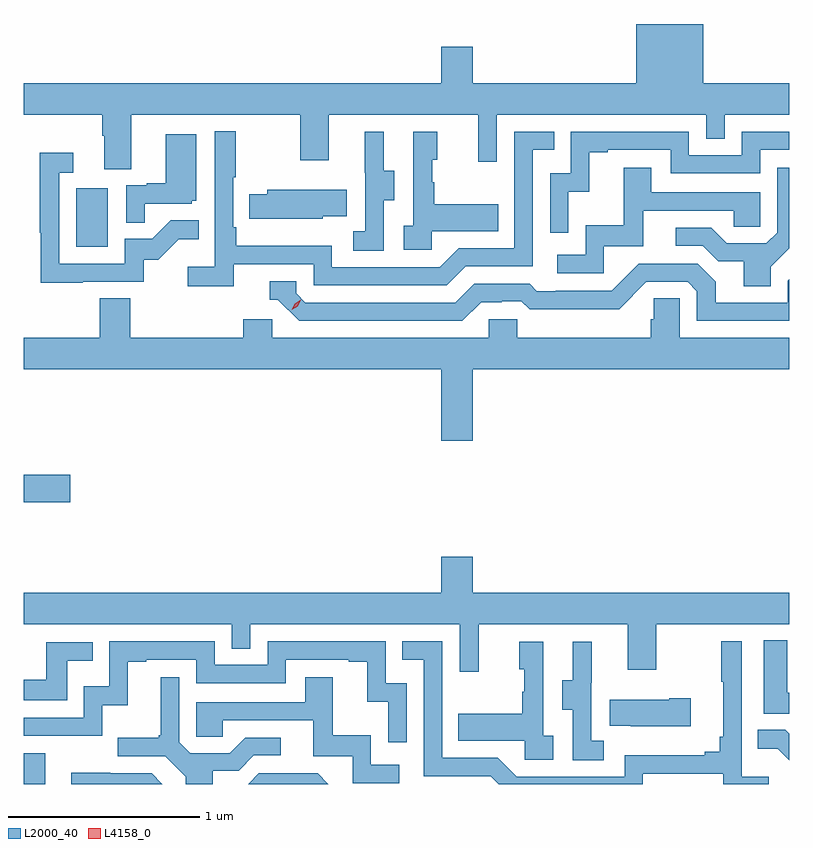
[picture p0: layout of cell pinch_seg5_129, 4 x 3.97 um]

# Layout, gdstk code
import gdstk
lib = gdstk.Library(unit=1e-6, precision=1e-09)
def R(c, l, rs):  # rectangles x0, y0, x1, y1
    for r in rs: c.add(gdstk.rectangle(r[:2], r[2:], *l))
def P(c, l, *ps):  # polygons
    for p in ps: c.add(gdstk.Polygon(p, *l))
L2000_40 = (2000, 40)
L4158_0 = (4158, 0)

pinch_seg5_129 = lib.new_cell('pinch_seg5_129')
R(pinch_seg5_129, L2000_40, [(1061.926,879.901,1062.037,880.062), (1061.926,881.374,1062.169,881.516), (1062.2,882.708,1062.364,883.015)])
P(pinch_seg5_129, L2000_40, [(1062.487,883.4),(1063.372,883.4),(1063.372,883.161),(1063.519,883.161),(1063.519,883.4),(1064.3,883.4),(1064.3,883.152),(1064.397,883.152),(1064.397,883.4),(1065.492,883.4),(1065.492,883.273),(1065.588,883.273),(1065.588,883.4),(1065.926,883.4),(1065.926,883.564),(1065.478,883.564),(1065.478,883.873),(1065.128,883.873),(1065.128,883.564),(1064.272,883.564),(1064.272,883.753),(1064.108,883.753),(1064.108,883.564),(1061.926,883.564),(1061.926,883.4),(1062.335,883.4),(1062.335,883.288),(1062.347,883.288),(1062.347,883.114),(1062.487,883.114)],
  [(1063.022,882.618),(1063.44,882.618),(1063.44,882.507),(1064.137,882.507),(1064.236,882.606),(1064.586,882.606),(1064.586,883.215),(1064.699,883.215),(1064.699,883.311),(1064.49,883.311),(1064.49,882.702),(1064.199,882.702),(1064.1,882.603),(1063.536,882.603),(1063.536,882.715),(1063.037,882.715),(1063.037,882.811),(1063.02,882.811),(1063.02,883.072),(1063.033,883.072),(1063.033,883.312),(1062.924,883.312),(1062.924,882.604),(1062.783,882.604),(1062.783,882.502),(1063.022,882.502)],
  [(1064.772,882.995),(1064.882,882.995),(1064.882,883.203),(1064.977,883.203),(1064.977,883.215),(1065.306,883.215),(1065.306,883.092),(1065.774,883.092),(1065.774,883.215),(1065.926,883.215),(1065.926,883.311),(1065.678,883.311),(1065.678,883.188),(1065.402,883.188),(1065.402,883.311),(1064.784,883.311),(1064.784,883.092),(1064.676,883.092),(1064.676,882.783),(1064.772,882.783)],
  [(1064.058,882.791),(1064.405,882.791),(1064.405,882.931),(1064.071,882.931),(1064.071,883.046),(1064.061,883.046),(1064.061,883.164),(1064.086,883.164),(1064.086,883.309),(1063.962,883.309),(1063.962,882.818),(1063.911,882.818),(1063.911,882.693),(1064.058,882.693)],
  [(1063.806,882.952),(1063.861,882.952),(1063.861,883.107),(1063.807,883.107),(1063.807,883.309),(1063.709,883.309),(1063.709,883.095),(1063.71,883.095),(1063.71,882.791),(1063.647,882.791),(1063.647,882.688),(1063.806,882.688)],
  [(1062.557,882.933),(1062.804,882.933),(1062.804,882.948),(1062.826,882.948),(1062.826,883.297),(1062.668,883.297),(1062.668,883.042),(1062.569,883.042),(1062.569,883.029),(1062.462,883.029),(1062.462,882.835),(1062.557,882.835)],
  [(1062.233,882.525),(1062.552,882.525),(1062.552,882.642),(1062.628,882.642),(1062.735,882.749),(1062.839,882.749),(1062.839,882.848),(1062.695,882.848),(1062.597,882.75),(1062.453,882.75),(1062.453,882.621),(1062.111,882.621),(1062.111,883.095),(1062.184,883.095),(1062.184,883.201),(1062.01,883.201),(1062.01,882.781),(1062.015,882.781),(1062.015,882.52),(1062.233,882.52)],
  [(1064.958,882.711),(1065.163,882.711),(1065.163,882.897),(1065.637,882.897),(1065.637,882.813),(1065.774,882.813),(1065.774,882.993),(1065.205,882.993),(1065.205,883.123),(1065.061,883.123),(1065.061,882.82),(1064.862,882.82),(1064.862,882.666),(1064.715,882.666),(1064.715,882.57),(1064.958,882.57)],
  [(1065.829,882.604),(1065.926,882.701),(1065.926,883.123),(1065.864,883.123),(1065.864,882.783),(1065.807,882.726),(1065.601,882.726),(1065.52,882.807),(1065.333,882.807),(1065.333,882.714),(1065.474,882.714),(1065.554,882.634),(1065.689,882.634),(1065.689,882.502),(1065.829,882.502)],
  [(1063.488,882.869),(1063.613,882.869),(1063.613,883.006),(1063.199,883.006),(1063.199,882.984),(1063.105,882.984),(1063.105,882.855),(1063.216,882.855),(1063.216,882.854),(1063.488,882.854)],
  [(1064.317,882.42),(1064.424,882.42),(1064.424,882.423),(1064.527,882.423),(1064.569,882.381),(1064.802,882.381),(1064.802,882.383),(1065.038,882.383),(1065.18,882.525),(1065.396,882.525),(1065.444,882.477),(1065.444,882.321),(1065.926,882.321),(1065.926,882.539),(1065.918,882.531),(1065.918,882.417),(1065.541,882.417),(1065.541,882.527),(1065.447,882.621),(1065.141,882.621),(1065,882.48),(1064.707,882.48),(1064.707,882.477),(1064.608,882.477),(1064.569,882.516),(1064.28,882.516),(1064.181,882.417),(1063.398,882.417),(1063.35,882.465),(1063.35,882.528),(1063.211,882.528),(1063.211,882.432),(1063.254,882.432),(1063.365,882.321),(1064.218,882.321)],
  [(1063.224,882.33),(1063.073,882.33),(1063.073,882.232),(1062.482,882.232),(1062.482,882.44),(1062.322,882.44),(1062.322,882.232),(1061.926,882.232),(1061.926,882.068),(1064.108,882.068),(1064.108,881.694),(1064.272,881.694),(1064.272,882.068),(1065.926,882.068),(1065.926,882.232),(1065.354,882.232),(1065.354,882.44),(1065.217,882.44),(1065.217,882.33),(1065.203,882.33),(1065.203,882.232),(1064.505,882.232),(1064.505,882.33),(1064.355,882.33),(1064.355,882.232),(1063.224,882.232)],
  [(1064.303,880.736),(1065.083,880.736),(1065.083,880.497),(1065.231,880.497),(1065.231,880.736),(1065.926,880.736),(1065.926,880.9),(1064.272,880.9),(1064.272,881.089),(1064.108,881.089),(1064.108,880.9),(1061.926,880.9),(1061.926,880.736),(1063.014,880.736),(1063.014,880.609),(1063.11,880.609),(1063.11,880.736),(1064.205,880.736),(1064.205,880.488),(1064.303,880.488)],
  [(1065.926,880.378),(1065.916,880.378),(1065.916,880.651),(1065.794,880.651),(1065.794,880.269),(1065.926,880.269)],
  [(1065.162,879.954),(1065.581,879.954),(1065.581,879.901),(1065.82,879.901),(1065.82,879.94),(1065.678,879.94),(1065.678,880.648),(1065.57,880.648),(1065.57,880.435),(1065.581,880.435),(1065.581,880.147),(1065.562,880.147),(1065.562,880.07),(1065.485,880.07),(1065.485,880.051),(1065.066,880.051),(1065.066,879.939),(1064.502,879.939),(1064.403,880.038),(1064.112,880.038),(1064.112,880.647),(1063.903,880.647),(1063.903,880.551),(1064.016,880.551),(1064.016,879.942),(1064.366,879.942),(1064.407,879.901),(1065.162,879.901)],
  [(1063.926,880.428),(1063.818,880.428),(1063.818,880.647),(1063.2,880.647),(1063.2,880.524),(1062.924,880.524),(1062.924,880.647),(1062.372,880.647),(1062.372,880.411),(1062.24,880.411),(1062.24,880.248),(1061.926,880.248),(1061.926,880.152),(1062.336,880.152),(1062.336,880.313),(1062.469,880.313),(1062.469,880.539),(1062.565,880.539),(1062.565,880.551),(1062.828,880.551),(1062.828,880.428),(1063.296,880.428),(1063.296,880.551),(1063.625,880.551),(1063.625,880.539),(1063.721,880.539),(1063.721,880.331),(1063.83,880.331),(1063.83,880.119),(1063.926,880.119)],
  [(1064.956,880.127),(1064.892,880.127),(1064.892,880.431),(1064.894,880.431),(1064.894,880.645),(1064.795,880.645),(1064.795,880.443),(1064.741,880.443),(1064.741,880.288),(1064.796,880.288),(1064.796,880.024),(1064.956,880.024)],
  [(1064.692,880.154),(1064.64,880.154),(1064.64,880.645),(1064.516,880.645),(1064.516,880.5),(1064.542,880.5),(1064.542,880.382),(1064.532,880.382),(1064.532,880.267),(1064.197,880.267),(1064.197,880.127),(1064.544,880.127),(1064.544,880.029),(1064.692,880.029)],
  [(1062.153,880.544),(1062.287,880.544),(1062.287,880.641),(1062.042,880.641),(1062.042,880.447),(1061.926,880.447),(1061.926,880.338),(1062.153,880.338)],
  [(1063.888,880.002),(1063.74,880.002),(1063.74,880.156),(1063.541,880.156),(1063.541,880.459),(1063.397,880.459),(1063.397,880.329),(1062.828,880.329),(1062.828,880.149),(1062.965,880.149),(1062.965,880.233),(1063.439,880.233),(1063.439,880.047),(1063.644,880.047),(1063.644,879.906),(1063.888,879.906)],
  [(1062.913,879.97),(1063.048,879.97),(1063.128,880.05),(1063.27,880.05),(1063.27,880.143),(1063.082,880.143),(1063.001,880.062),(1062.795,880.062),(1062.738,880.119),(1062.738,880.459),(1062.641,880.459),(1062.641,880.156),(1062.63,880.156),(1062.63,880.144),(1062.417,880.144),(1062.417,880.047),(1062.666,880.047),(1062.773,879.94),(1062.773,879.901),(1062.913,879.901)],
  [(1065.412,880.35),(1065.299,880.35),(1065.299,880.342),(1064.989,880.342),(1064.989,880.205),(1065.097,880.205),(1065.097,880.202),(1065.412,880.202)],
  [(1065.926,880.164),(1065.906,880.184),(1065.763,880.184),(1065.763,880.085),(1065.867,880.085),(1065.926,880.026)],
  [(1062.594,879.957),(1062.378,879.957),(1062.378,879.959),(1062.173,879.959),(1062.173,879.901),(1062.65,879.901)],
  [(1063.461,879.957),(1063.155,879.957),(1063.099,879.901),(1063.517,879.901)])
P(pinch_seg5_129, L4158_0, [(1063.326,882.38),(1063.326,882.38),(1063.343,882.412),(1063.374,882.431),(1063.374,882.431),(1063.374,882.431),(1063.357,882.398),(1063.326,882.38)])

lib.write_gds('pinch_seg5_129.gds')
